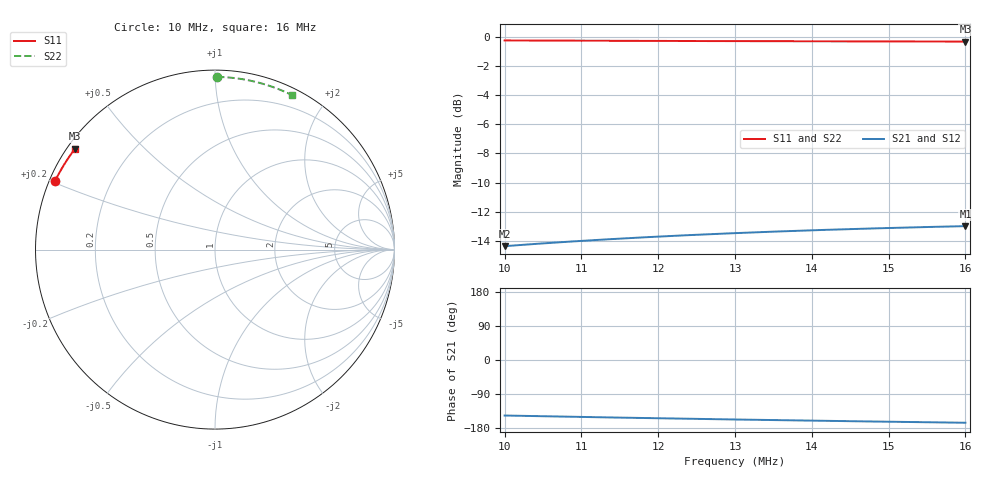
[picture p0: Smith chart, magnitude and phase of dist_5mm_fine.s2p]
! Touchstone file from project Coils
! Exported from HFSS 2015.0.0
! Variables:
!  dist = 5.8mm
# GHZ S MA R 50.000000
! Modal data exported
! Port[1] = p1:1
! Port[2] = p2:1
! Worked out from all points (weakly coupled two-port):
!   601 points, 10 MHz to 16 MHz, reference 50 ohm
!   highest |S21| = -12.98 dB at 16 MHz (marker M1); lowest = -14.4 dB at 10 MHz (marker M2)
!   lowest |S11| = -0.3 dB at 16 MHz (marker M3), VSWR 50.83, Z = 1.09 + j16.1 ohm
!   |S11| at or under -10 dB: nowhere
!   |S22| runs from -0.3 to -0.3 dB; largest |S21 - S12| = 4e-14
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0.01  0.9698 156.8  0.1916 -146.5  0.1916 -146.5  0.9623 89.3
! Gamma ! 0 0 0 0
! Port Impedance50 0 50 0
0.01003  0.9698 156.7  0.1919 -146.6  0.1919 -146.6  0.9623 89.1
0.01025  0.9693 156.2  0.1938 -147.5  0.1938 -147.5  0.9622 87.9
0.01048  0.9689 155.7  0.1957 -148.3  0.1957 -148.3  0.9621 86.6
0.01074  0.9684 155.2  0.1978 -149.3  0.1978 -149.3  0.962 85.2
0.011  0.9679 154.6  0.1998 -150.3  0.1998 -150.3  0.9619 83.8
0.01125  0.9674 154.1  0.2016 -151.2  0.2016 -151.2  0.9618 82.6
0.0115  0.967 153.6  0.2034 -152.0  0.2034 -152.0  0.9618 81.3
0.01175  0.9666 153.1  0.205 -152.9  0.205 -152.9  0.9617 80.1
0.012  0.9662 152.5  0.2066 -153.8  0.2066 -153.8  0.9616 78.9
0.01225  0.9658 152.0  0.2082 -154.6  0.2082 -154.6  0.9616 77.8
0.0125  0.9654 151.5  0.2096 -155.4  0.2096 -155.4  0.9616 76.7
0.01275  0.965 151.0  0.211 -156.2  0.211 -156.2  0.9615 75.6
0.013  0.9647 150.4  0.2124 -157.0  0.2124 -157.0  0.9615 74.5
0.01325  0.9644 149.9  0.2137 -157.8  0.2137 -157.8  0.9615 73.5
0.0135  0.964 149.4  0.2149 -158.5  0.2149 -158.5  0.9615 72.4
0.014  0.9634 148.4  0.2172 -160.0  0.2172 -160.0  0.9615 70.5
0.01449  0.9629 147.3  0.2192 -161.5  0.2192 -161.5  0.9615 68.6
0.015  0.9623 146.3  0.2211 -162.9  0.2211 -162.9  0.9616 66.8
0.01556  0.9618 145.2  0.2231 -164.4  0.2231 -164.4  0.9616 64.9
0.01594  0.9615 144.4  0.2242 -165.4  0.2242 -165.4  0.9617 63.7
0.016  0.9614 144.3  0.2244 -165.6  0.2244 -165.6  0.9617 63.5
